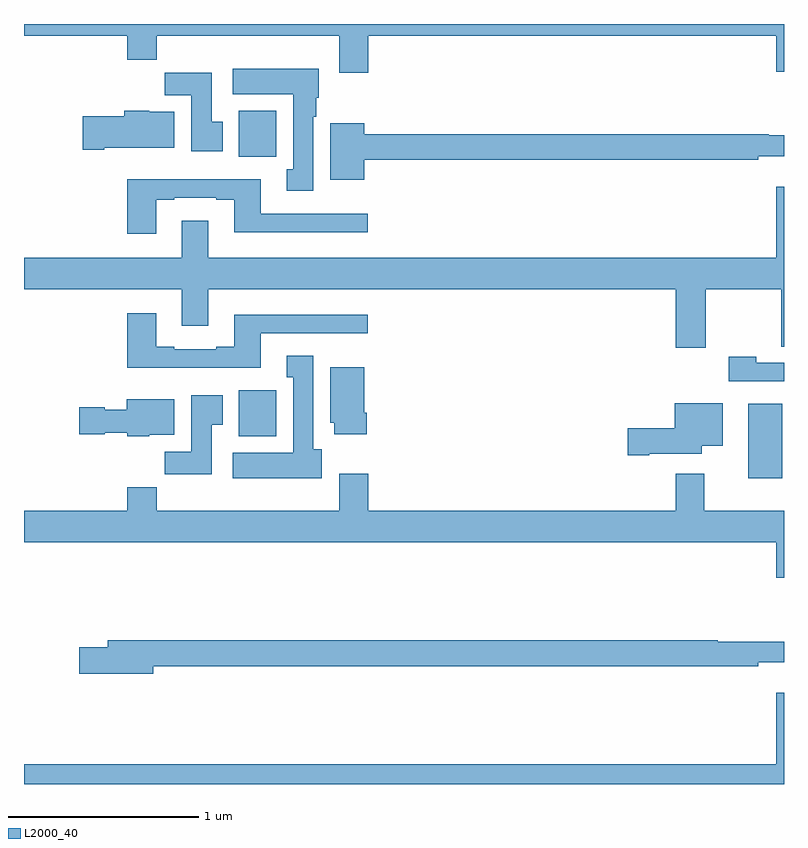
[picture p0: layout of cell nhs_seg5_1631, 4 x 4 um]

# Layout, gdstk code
import gdstk
lib = gdstk.Library(unit=1e-6, precision=1e-09)
def R(c, l, rs):  # rectangles x0, y0, x1, y1
    for r in rs: c.add(gdstk.rectangle(r[:2], r[2:], *l))
def P(c, l, *ps):  # polygons
    for p in ps: c.add(gdstk.Polygon(p, *l))
L2000_40 = (2000, 40)

nhs_seg5_1631 = lib.new_cell('nhs_seg5_1631')
R(nhs_seg5_1631, L2000_40, [(212.813,878.408,212.992,878.8), (210.131,878.63,210.328,878.872), (210.131,880.1,210.328,880.342)])
P(nhs_seg5_1631, L2000_40, [(210.812,880.736),(212.96,880.736),(212.96,880.548),(213,880.548),(213,880.799),(209,880.799),(209,880.736),(209.543,880.736),(209.543,880.612),(209.699,880.612),(209.699,880.736),(210.659,880.736),(210.659,880.542),(210.812,880.542)],
  [(210.523,880.31),(210.538,880.31),(210.538,880.41),(210.55,880.41),(210.55,880.564),(210.099,880.564),(210.099,880.43),(210.416,880.43),(210.416,880.034),(210.383,880.034),(210.383,879.921),(210.523,879.921)],
  [(210.046,880.284),(209.989,880.284),(209.989,880.543),(209.74,880.543),(209.74,880.424),(209.879,880.424),(209.879,880.128),(210.046,880.128)],
  [(209.422,880.148),(209.791,880.148),(209.791,880.336),(209.658,880.336),(209.658,880.342),(209.528,880.342),(209.528,880.314),(209.31,880.314),(209.31,880.136),(209.422,880.136)],
  [(210.79,880.084),(212.864,880.084),(212.864,880.103),(213,880.103),(213,880.213),(212.92,880.213),(212.92,880.22),(210.79,880.22),(210.79,880.276),(210.611,880.276),(210.611,879.98),(210.79,879.98)],
  [(209.695,879.873),(209.791,879.873),(209.791,879.885),(210.011,879.885),(210.011,879.873),(210.107,879.873),(210.107,879.704),(210.808,879.704),(210.808,879.801),(210.247,879.801),(210.247,879.982),(209.543,879.982),(209.543,879.696),(209.695,879.696)],
  [(212.589,879.404),(212.986,879.404),(212.986,879.1),(213,879.1),(213,879.943),(212.96,879.943),(212.96,879.568),(209.971,879.568),(209.971,879.763),(209.831,879.763),(209.831,879.568),(209,879.568),(209,879.404),(209.831,879.404),(209.831,879.21),(209.971,879.21),(209.971,879.404),(212.429,879.404),(212.429,879.096),(212.589,879.096)],
  [(210.247,879.171),(210.808,879.171),(210.808,879.268),(210.107,879.268),(210.107,879.1),(210.011,879.1),(210.011,879.087),(209.791,879.087),(209.791,879.1),(209.695,879.1),(209.695,879.277),(209.543,879.277),(209.543,878.99),(210.247,878.99)],
  [(210.568,878.562),(210.523,878.562),(210.523,879.052),(210.383,879.052),(210.383,878.939),(210.416,878.939),(210.416,878.542),(210.099,878.542),(210.099,878.408),(210.568,878.408)],
  [(213,879.015),(212.853,879.015),(212.853,879.048),(212.709,879.048),(212.709,878.919),(213,878.919)],
  [(210.803,878.752),(210.79,878.752),(210.79,878.992),(210.611,878.992),(210.611,878.7),(210.632,878.7),(210.632,878.64),(210.803,878.64)],
  [(209.989,878.689),(210.046,878.689),(210.046,878.845),(209.879,878.845),(209.879,878.548),(209.74,878.548),(209.74,878.43),(209.989,878.43)],
  [(209.658,878.636),(209.791,878.636),(209.791,878.824),(209.54,878.824),(209.54,878.77),(209.424,878.77),(209.424,878.783),(209.292,878.783),(209.292,878.641),(209.424,878.641),(209.424,878.648),(209.544,878.648),(209.544,878.63),(209.658,878.63)],
  [(212.29,878.537),(212.566,878.537),(212.566,878.579),(212.677,878.579),(212.677,878.803),(212.426,878.803),(212.426,878.672),(212.178,878.672),(212.178,878.53),(212.29,878.53)],
  [(213,878.236),(212.581,878.236),(212.581,878.431),(212.429,878.431),(212.429,878.236),(210.812,878.236),(210.812,878.431),(210.659,878.431),(210.659,878.236),(209.699,878.236),(209.699,878.36),(209.543,878.36),(209.543,878.236),(209,878.236),(209,878.072),(212.96,878.072),(212.96,877.884),(213,877.884)],
  [(209.68,877.42),(212.864,877.42),(212.864,877.439),(213,877.439),(213,877.549),(212.65,877.549),(212.65,877.556),(209.441,877.556),(209.441,877.52),(209.292,877.52),(209.292,877.378),(209.68,877.378)],
  [(213,877.279),(212.96,877.279),(212.96,876.904),(209,876.904),(209,876.799),(213,876.799)])

lib.write_gds('nhs_seg5_1631.gds')
